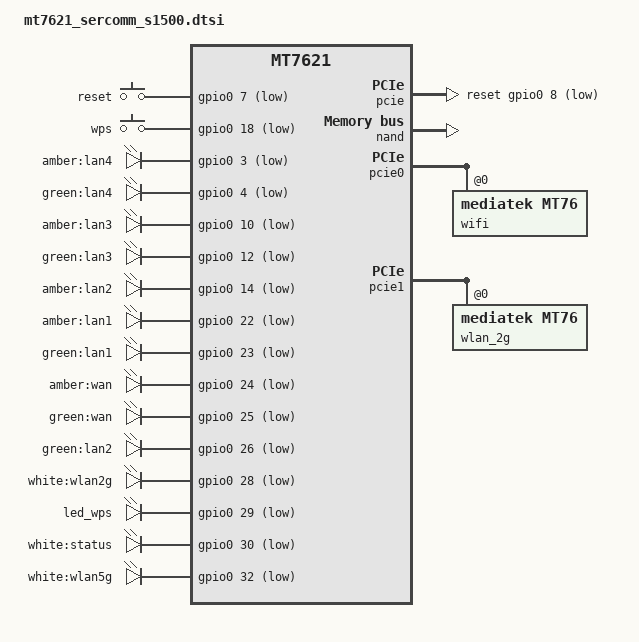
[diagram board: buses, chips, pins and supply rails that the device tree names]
// SPDX-License-Identifier: GPL-2.0-or-later

#include "mt7621.dtsi"

#include <dt-bindings/gpio/gpio.h>
#include <dt-bindings/input/input.h>
#include <dt-bindings/leds/common.h>

/ {
	aliases {
		led-boot = &led_status;
		led-running = &led_status;
		led-upgrade = &led_wps;
		led-failsafe = &led_wps;
	};
	
	chosen {
		bootargs = "console=ttyS0,115200n8";
	};
	
	keys {
		compatible = "gpio-keys";

		reset {
			label = "reset";
			gpios = <&gpio0 7 GPIO_ACTIVE_LOW>;
			linux,code = <KEY_RESTART>;
		};

		wps {
			label = "wps";
			gpios = <&gpio0 18 GPIO_ACTIVE_LOW>;
			linux,code = <KEY_WPS_BUTTON>;
		};
	};

	leds {
		compatible = "gpio-leds";

		led-0 {
			label = "amber:lan4";
			gpios = <&gpio0 3 GPIO_ACTIVE_LOW>;
		};

		led-1 {
			label = "green:lan4";
			gpios = <&gpio0 4 GPIO_ACTIVE_LOW>;
		};

		led-2 {
			label = "amber:lan3";
			gpios = <&gpio0 10 GPIO_ACTIVE_LOW>;
		};

		led-3 {
			label = "green:lan3";
			gpios = <&gpio0 12 GPIO_ACTIVE_LOW>;
		};

		led-4 {
			label = "amber:lan2";
			gpios = <&gpio0 14 GPIO_ACTIVE_LOW>;
		};

		led-5 {
			label = "amber:lan1";
			gpios = <&gpio0 22 GPIO_ACTIVE_LOW>;
		};

		led-6 {
			label = "green:lan1";
			gpios = <&gpio0 23 GPIO_ACTIVE_LOW>;
		};

		led-7 {
			label = "amber:wan";
			gpios = <&gpio0 24 GPIO_ACTIVE_LOW>;
		};

		led-8 {
			label = "green:wan";
			gpios = <&gpio0 25 GPIO_ACTIVE_LOW>;
		};

		led-9 {
			label = "green:lan2";
			gpios = <&gpio0 26 GPIO_ACTIVE_LOW>;
		};

		led-10 {
			label = "white:wlan2g";
			gpios = <&gpio0 28 GPIO_ACTIVE_LOW>;
		};

		led_wps: led-11 {
			gpios = <&gpio0 29 GPIO_ACTIVE_LOW>;
			panic-indicator;
		};

		led_status: led-12 {
			label = "white:status";
			gpios = <&gpio0 30 GPIO_ACTIVE_LOW>;
		};

		led-13 {
			label = "white:wlan5g";
			gpios = <&gpio0 32 GPIO_ACTIVE_LOW>;
		};
	};
};

&gpio1 {
	status = "okay";
};

&gpio2 {
	status  = "okay";
};

&pcie {
	status = "okay";
};

&nand {
	status = "okay";

	partitions: partitions {
		compatible = "fixed-partitions";
		#address-cells = <1>;
		#size-cells = <1>;

		partition@0 {
			label = "u-boot";
			reg = <0x0 0x100000>;
			read-only;
		};

		factory: partition@100000 {
			label = "Factory";
			reg = <0x100000 0x100000>;
			read-only;

			compatible = "nvmem-cells";
			#address-cells = <1>;
			#size-cells = <1>;

			macaddr_factory_1000: macaddr@1000 {
				reg = <0x1000 0x6>;
			};
		};

		partition@1600000 {
			label = "boot_flag";
			reg = <0x1600000 0x100000>;
		};

		partition@1700000 {
			label = "kernel";
			reg = <0x1700000 0x400000>;
		};

		partition@1b00000 {
			label = "Kernel_2";
			reg = <0x1b00000 0x400000>;
			read-only;
		};
	};
};

&pcie {
	status = "okay";

	reset-gpios = <&gpio0 8 GPIO_ACTIVE_LOW>,
		<&gpio0 19 GPIO_ACTIVE_LOW>;
};

&pcie0 {
	wifi@0,0 {
		compatible = "mediatek,mt76";
		reg = <0x0000 0 0 0 0>;
		ieee80211-freq-limit = <5000000 6000000>;
		mediatek,mtd-eeprom = <&factory 0x8000>;
		mtd-mac-address = <&factory 0x1000>;
		mac-address-increment = <2>;
	};
};

&pcie1 {
	wlan_2g: wifi@0,0 {
		compatible = "mediatek,mt76";
		reg = <0x0000 0 0 0 0>;
		ieee80211-freq-limit = <2400000 2500000>;
		mediatek,mtd-eeprom = <&factory 0x0>;
		mtd-mac-address = <&factory 0x1000>;
		mac-address-increment = <4>;
	};
};

&ethernet {
	ports {
		port@0 {
			status = "okay";
			label = "lan4";
		};

		port@1 {
			status = "okay";
			label = "lan3";
		};

		port@2 {
			status = "okay";
			label = "lan2";
		};

		port@3 {
			status = "okay";
			label = "lan1";
		};

		wan: port@4 {
			status = "okay";
			label = "wan";
		mtd-mac-address = <&factory 0x1000>;
		};
	};
};

&pinctrl {
	state_default {
		gpio {
			groups = "wdt", "uart3", "jtag", "uart2", "i2c", "rgmii2";
			function = "gpio";
		};
	};
};
